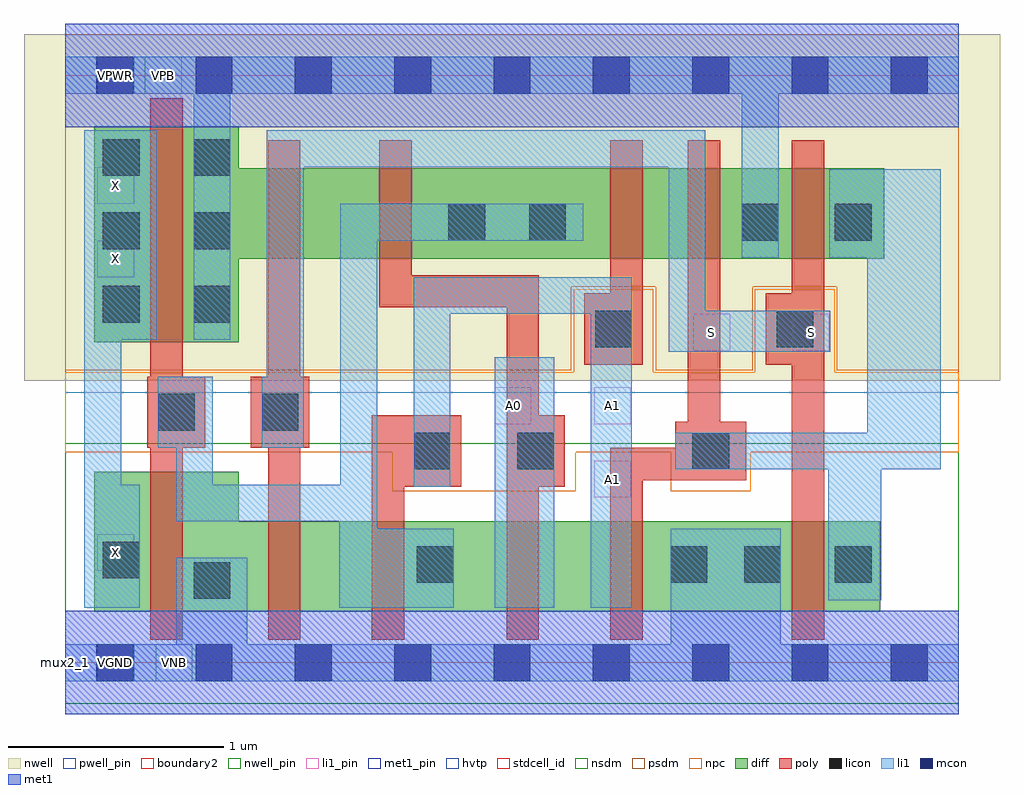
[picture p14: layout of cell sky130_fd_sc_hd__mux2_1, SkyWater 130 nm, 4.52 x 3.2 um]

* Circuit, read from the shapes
.subckt sky130_fd_sc_hd__mux2_1 A0 A1 S VGND VNB VPB VPWR X
XM1 VGND n1 X VNB sky130_fd_pr__nfet_01v8 w=0.65 l=0.15
XM2 n2 S VGND VNB sky130_fd_pr__nfet_01v8 w=0.42 l=0.15
XM3 n1 A1 n2 VNB sky130_fd_pr__nfet_01v8 w=0.42 l=0.15
XM4 n3 A0 n1 VNB sky130_fd_pr__nfet_01v8 w=0.42 l=0.15
XM5 VGND n4 n3 VNB sky130_fd_pr__nfet_01v8 w=0.42 l=0.15
XM6 n4 S VGND VNB sky130_fd_pr__nfet_01v8 w=0.42 l=0.15
XM7 VPWR n1 X VPB sky130_fd_pr__pfet_01v8_hvt w=1 l=0.15
XM8 n5 S VPWR VPB sky130_fd_pr__pfet_01v8_hvt w=0.42 l=0.15
XM9 n1 A0 n5 VPB sky130_fd_pr__pfet_01v8_hvt w=0.42 l=0.15
XM10 n6 A1 n1 VPB sky130_fd_pr__pfet_01v8_hvt w=0.42 l=0.15
XM11 VPWR n4 n6 VPB sky130_fd_pr__pfet_01v8_hvt w=0.42 l=0.15
XM12 n4 S VPWR VPB sky130_fd_pr__pfet_01v8_hvt w=0.42 l=0.15
.ends

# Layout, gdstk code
import gdstk
lib = gdstk.Library(unit=1e-6, precision=1e-09)
def R(c, l, rs):  # rectangles x0, y0, x1, y1
    for r in rs: c.add(gdstk.rectangle(r[:2], r[2:], *l))
def A(c, l, x, y, w, h, nx, ny, dx, dy):  # array of equal rectangles
    R(c, l, [(x+i*dx, y+j*dy, x+i*dx+w, y+j*dy+h) for i in range(nx) for j in range(ny)])
def P(c, l, *ps):  # polygons
    for p in ps: c.add(gdstk.Polygon(p, *l))
nwell_pin = (64, 16)
nwell = (64, 20)
diff = (65, 20)
poly = (66, 20)
licon = (66, 44)
li1_pin = (67, 16)
li1 = (67, 20)
mcon = (67, 44)
met1_pin = (68, 16)
met1 = (68, 20)
hvtp = (78, 44)
stdcell_id = (81, 4)
nsdm = (93, 44)
psdm = (94, 20)
npc = (95, 20)
pwell_pin = (122, 16)
boundary2 = (236, 0)

sky130_fd_sc_hd__mux2_1 = lib.new_cell('sky130_fd_sc_hd__mux2_1')
R(sky130_fd_sc_hd__mux2_1, nwell_pin, [(0.37,2.635,0.54,2.805)])
R(sky130_fd_sc_hd__mux2_1, nwell, [(-0.19,1.305,4.33,2.91)])
P(sky130_fd_sc_hd__mux2_1, diff, [(3.775,0.655),(0.805,0.655),(0.805,0.885),(0.135,0.885),(0.135,0.235),(3.775,0.235)],
  [(3.795,2.29),(0.805,2.29),(0.805,2.485),(0.135,2.485),(0.135,1.485),(0.805,1.485),(0.805,1.87),(3.795,1.87)])
P(sky130_fd_sc_hd__mux2_1, poly, [(0.65,1.325),(0.545,1.325),(0.545,2.615),(0.395,2.615),(0.395,1.325),(0.38,1.325),(0.38,0.995),(0.395,0.995),(0.395,0.105),(0.545,0.105),(0.545,0.995),(0.65,0.995)],
  [(1.13,1.325),(1.09,1.325),(1.09,2.42),(0.94,2.42),(0.94,1.325),(0.86,1.325),(0.86,0.995),(0.94,0.995),(0.94,0.105),(1.09,0.105),(1.09,0.995),(1.13,0.995)],
  [(3.515,2.42),(3.365,2.42),(3.365,1.71),(3.245,1.71),(3.245,1.38),(3.365,1.38),(3.365,0.105),(3.515,0.105)],
  [(3.155,1.115),(3.035,1.115),(3.035,2.42),(2.885,2.42),(2.885,1.115),(2.825,1.115),(2.825,0.995),(2.525,0.995),(2.525,0.105),(2.675,0.105),(2.675,0.845),(3.155,0.845)],
  [(2.675,2.42),(2.525,2.42),(2.525,1.71),(2.405,1.71),(2.405,1.38),(2.675,1.38)],
  [(1.835,1.145),(1.42,1.145),(1.42,0.105),(1.57,0.105),(1.57,0.815),(1.835,0.815)],
  [(2.315,1.145),(2.195,1.145),(2.195,1.795),(1.605,1.795),(1.605,2.42),(1.455,2.42),(1.455,1.645),(2.045,1.645),(2.045,0.105),(2.195,0.105),(2.195,0.815),(2.315,0.815)])
A(sky130_fd_sc_hd__mux2_1, licon, 0.175, 1.575, 0.17, 0.17, 1, 3, 0, 0.34)
A(sky130_fd_sc_hd__mux2_1, licon, 0.595, 1.575, 0.17, 0.17, 1, 3, 0, 0.34)
R(sky130_fd_sc_hd__mux2_1, licon, [(0.595,0.295,0.765,0.465), (1.63,0.37,1.8,0.54), (2.805,0.37,2.975,0.54), (3.145,0.37,3.315,0.54), (3.565,0.37,3.735,0.54), (0.175,0.39,0.345,0.56), (1.615,0.895,1.785,1.065), (2.095,0.895,2.265,1.065), (2.905,0.895,3.075,1.065), (0.43,1.075,0.6,1.245), (0.91,1.075,1.08,1.245), (2.455,1.46,2.625,1.63), (3.295,1.46,3.465,1.63), (1.775,1.955,1.945,2.125), (2.15,1.955,2.32,2.125), (3.135,1.955,3.305,2.125), (3.565,1.955,3.735,2.125)])
R(sky130_fd_sc_hd__mux2_1, li1_pin, [(0.15,0.425,0.32,0.595), (2.45,0.765,2.62,0.935), (1.99,1.105,2.16,1.275), (2.45,1.105,2.62,1.275), (2.91,1.445,3.08,1.615), (3.37,1.445,3.54,1.615), (0.15,1.785,0.32,1.955), (0.15,2.125,0.32,2.295)])
R(sky130_fd_sc_hd__mux2_1, li1, [(1.99,0.255,2.265,1.415)])
P(sky130_fd_sc_hd__mux2_1, li1, [(4.14,0.085),(3.315,0.085),(3.315,0.62),(2.805,0.62),(2.805,0.085),(0.845,0.085),(0.845,0.485),(0.515,0.485),(0.515,0.085),(0,0.085),(0,-0.085),(4.14,-0.085)],
  [(4.14,2.805),(0,2.805),(0,2.635),(0.595,2.635),(0.595,1.495),(0.765,1.495),(0.765,2.635),(3.135,2.635),(3.135,1.875),(3.305,1.875),(3.305,2.635),(4.14,2.635)],
  [(0.425,2.465),(0.09,2.465),(0.09,0.255),(0.345,0.255),(0.345,0.825),(0.26,0.825),(0.26,1.495),(0.425,1.495)],
  [(2.4,2.125),(1.275,2.125),(1.275,0.825),(0.685,0.825),(0.685,1.325),(0.43,1.325),(0.43,0.995),(0.515,0.995),(0.515,0.655),(1.27,0.655),(1.27,0.255),(1.8,0.255),(1.8,0.62),(1.445,0.62),(1.445,1.955),(2.4,1.955)],
  [(2.625,1.785),(1.615,1.785),(1.615,0.815),(1.785,0.815),(1.785,1.615),(2.435,1.615),(2.435,0.255),(2.625,0.255)],
  [(3.545,1.63),(2.965,1.63),(2.965,2.465),(0.935,2.465),(0.935,1.325),(0.91,1.325),(0.91,0.995),(1.105,0.995),(1.105,2.295),(2.795,2.295),(2.795,1.44),(3.545,1.44)],
  [(4.055,2.285),(3.54,2.285),(3.54,1.875),(3.715,1.875),(3.715,1.065),(2.825,1.065),(2.825,0.895),(3.535,0.895),(3.535,0.29),(3.78,0.29),(3.78,0.895),(4.055,0.895)])
A(sky130_fd_sc_hd__mux2_1, mcon, 0.145, -0.085, 0.17, 0.17, 9, 2, 0.46, 2.72)
R(sky130_fd_sc_hd__mux2_1, met1_pin, [(0.15,-0.085,0.32,0.085), (0.15,2.635,0.32,2.805)])
R(sky130_fd_sc_hd__mux2_1, hvtp, [(0,1.25,4.14,2.72)])
R(sky130_fd_sc_hd__mux2_1, stdcell_id, [(0,0,4.14,2.72)])
R(sky130_fd_sc_hd__mux2_1, nsdm, [(0,-0.19,4.14,1.015)])
P(sky130_fd_sc_hd__mux2_1, psdm, [(4.14,2.91),(0,2.91),(0,1.355),(2.345,1.355),(2.345,1.74),(2.735,1.74),(2.735,1.355),(3.185,1.355),(3.185,1.74),(3.575,1.74),(3.575,1.355),(4.14,1.355)])
P(sky130_fd_sc_hd__mux2_1, npc, [(4.14,1.345),(3.565,1.345),(3.565,1.73),(3.195,1.73),(3.195,1.345),(2.725,1.345),(2.725,1.73),(2.355,1.73),(2.355,1.345),(0,1.345),(0,0.975),(1.515,0.975),(1.515,0.795),(2.365,0.795),(2.365,0.975),(2.805,0.975),(2.805,0.795),(3.175,0.795),(3.175,0.975),(4.14,0.975)])
R(sky130_fd_sc_hd__mux2_1, pwell_pin, [(0.42,-0.085,0.59,0.085)])
R(sky130_fd_sc_hd__mux2_1, boundary2, [(0,0,4.14,2.72)])
sky130_fd_sc_hd__mux2_1.add(gdstk.FlexPath([(0,2.72),(4.14,2.72)], 0.48, ends="flush", simple_path=True, layer=68, datatype=20))  # met1
sky130_fd_sc_hd__mux2_1.add(gdstk.FlexPath([(0,0),(4.14,0)], 0.48, ends="flush", simple_path=True, layer=68, datatype=20))  # met1
sky130_fd_sc_hd__mux2_1.add(gdstk.Label('VGND', (0.235,0), layer=68, texttype=5))
sky130_fd_sc_hd__mux2_1.add(gdstk.Label('VPWR', (0.235,2.72), layer=68, texttype=5))
sky130_fd_sc_hd__mux2_1.add(gdstk.Label('S', (3.455,1.53), layer=67, texttype=5))
sky130_fd_sc_hd__mux2_1.add(gdstk.Label('S', (2.995,1.53), layer=67, texttype=5))
sky130_fd_sc_hd__mux2_1.add(gdstk.Label('A1', (2.535,0.85), layer=67, texttype=5))
sky130_fd_sc_hd__mux2_1.add(gdstk.Label('A1', (2.535,1.19), layer=67, texttype=5))
sky130_fd_sc_hd__mux2_1.add(gdstk.Label('A0', (2.075,1.19), layer=67, texttype=5))
sky130_fd_sc_hd__mux2_1.add(gdstk.Label('X', (0.235,0.51), layer=67, texttype=5))
sky130_fd_sc_hd__mux2_1.add(gdstk.Label('X', (0.235,1.87), layer=67, texttype=5))
sky130_fd_sc_hd__mux2_1.add(gdstk.Label('X', (0.235,2.21), layer=67, texttype=5))
sky130_fd_sc_hd__mux2_1.add(gdstk.Label('VPB', (0.455,2.72), layer=64, texttype=5))
sky130_fd_sc_hd__mux2_1.add(gdstk.Label('VNB', (0.505,0), layer=64, texttype=59))
sky130_fd_sc_hd__mux2_1.add(gdstk.Label('mux2_1', (0,0), layer=83, texttype=44))

lib.write_gds('sky130_fd_sc_hd__mux2_1.gds')
